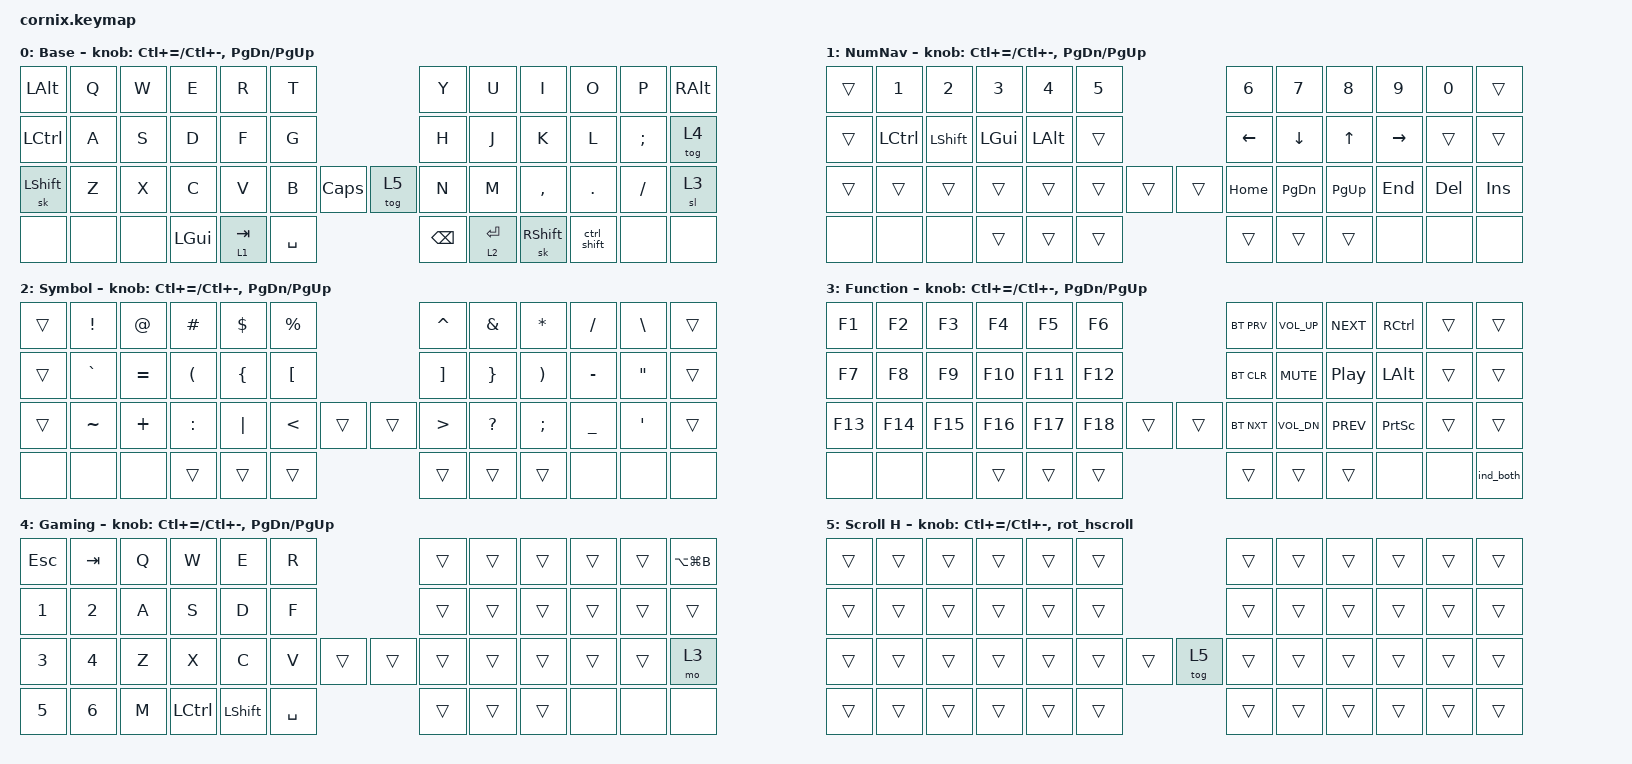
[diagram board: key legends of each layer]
/*
 * Copyright (c) 2020 The ZMK Contributors
 *
 * SPDX-License-Identifier: MIT
 */

#include "includes/cornix54.h"
#include <behaviors.dtsi>
#include <behaviors/rgbled_widget.dtsi>
#include <dt-bindings/zmk/bt.h>
#include <dt-bindings/zmk/keys.h>
// Override default scroll value so one encoder detent produces at least
// one scroll step (speed × trigger_period_ms / 1000 >= 1 → need >= 63).
#define ZMK_POINTING_DEFAULT_SCRL_VAL 100
#include <dt-bindings/zmk/pointing.h>

&lt {
    tapping-term-ms = <135>;
    flavor = "hold-preferred";
};

/ {
    combos {
        compatible = "zmk,combos";

        jkForEscape {
            bindings = <&kp ESCAPE>;
            key-positions = <RM1 RM2>;
        };
    };

    macros {
        highlight_left: highlight_left {
            compatible = "zmk,behavior-macro";
            #binding-cells = <0>;
            bindings = <&kp LS(LA(LEFT))>;
            label = "HIGHLIGHT_LEFT";
        };

        highlight_right: highlight_right {
            compatible = "zmk,behavior-macro";
            #binding-cells = <0>;
            bindings = <&kp LS(LA(RIGHT))>;
            label = "HIGHLIGHT_RIGHT";
        };

        highlight_up: highlight_up {
            compatible = "zmk,behavior-macro";
            #binding-cells = <0>;
            bindings = <&kp LS(LA(UP_ARROW))>;
            label = "HIGHLIGHT_UP";
        };

        highlight_down: highlight_down {
            compatible = "zmk,behavior-macro";
            #binding-cells = <0>;
            bindings = <&kp LS(LA(DOWN_ARROW))>;
            label = "HIGHLIGHT_DOWN";
        };

        ctrl_shift: ctrl_shift {
            compatible = "zmk,behavior-macro";
            #binding-cells = <0>;
            wait-ms = <0>;
            tap-ms = <0>;
            bindings
                = <&macro_press &kp LEFT_CONTROL>
                , <&macro_press &kp LEFT_SHIFT>
                , <&macro_pause_for_release>
                , <&macro_release &kp LEFT_SHIFT>
                , <&macro_release &kp LEFT_CONTROL>
                ;
            label = "CTRL_SHIFT";
        };

        ind_both: ind_both {
            compatible = "zmk,behavior-macro";
            #binding-cells = <0>;
            bindings = <&ind_bat &ind_con>;
            label = "IND_BOTH";
        };

    };

    behaviors {
        // Clockwise = scroll right, counter-clockwise = scroll left.
        // tap-ms must be >= the msc trigger period (16ms) so at least one
        // input tick fires per encoder detent.
        rot_hscroll: rot_hscroll {
            compatible = "zmk,behavior-sensor-rotate";
            #sensor-binding-cells = <0>;
            tap-ms = <20>;
            bindings = <&msc SCRL_RIGHT>, <&msc SCRL_LEFT>;
        };
    };

    keymap {
        compatible = "zmk,keymap";

        default_layer {
            display-name = "Base";

            // Cornix 50-key layout mapped from Corne 42-key base layer
            // ╭────────────────────────────────────────────────╮               ╭────────────────────────────────────────────────╮
            // │ LALT  │  Q   │  W   │  E   │  R   │  T   │               │  Y   │  U   │  I   │  O   │  P   │ RALT  │
            // │ LCTRL │  A   │  S   │  D   │  F   │  G   ╰──╮         ╭──╯  H   │  J   │  K   │  L   │  ;   │ tog 4 │
            // │ skSHFT│  Z   │  X   │  C   │  V   │  B   │CAPS╰────┬────╯togH │  N   │  M   │  ,   │  .   │  /   │ sl 3  │
            // │ none  │ none │ none │ GUI  │lt1TAB│ SPC  │     │     │ BKSP │lt2RET│skSHFT│ none │ none │ none  │
            // ╰────────────────────────────────────────────────────────┴────────────────────────────────────────────────────╯

            bindings = <
&kp LEFT_ALT    &kp Q  &kp W  &kp E     &kp R      &kp T                                    &kp Y          &kp U        &kp I            &kp O    &kp P     &kp RIGHT_ALT
&kp LCTRL       &kp A  &kp S  &kp D     &kp F      &kp G                                    &kp H          &kp J        &kp K            &kp L    &kp SEMI  &tog 4
&sk LEFT_SHIFT  &kp Z  &kp X  &kp C     &kp V      &kp B        &kp CAPSLOCK    &tog 5          &kp N          &kp M        &kp COMMA        &kp DOT  &kp FSLH  &sl 3
&none           &none  &none  &kp LGUI  &lt 1 TAB  &kp SPACE                                &kp BACKSPACE  &lt 2 ENTER  &sk RIGHT_SHIFT  &ctrl_shift  &none  &none
            >;

            sensor-bindings =
                <&inc_dec_kp LC(EQUAL) LC(MINUS)>,
                <&inc_dec_kp PG_DN PG_UP>;
        };

        number_layer {
            display-name = "NumNav";

            bindings = <
&trans  &kp NUMBER_1  &kp N2          &kp N3    &kp N4        &kp N5                        &kp N6    &kp N7         &kp N8       &kp N9     &kp N0      &trans
&trans  &kp LCTRL     &kp LEFT_SHIFT  &kp LGUI  &kp LEFT_ALT  &trans                        &kp LEFT  &kp DOWN       &kp UP       &kp RIGHT  &trans      &trans
&trans  &trans        &trans          &trans    &trans        &trans    &trans    &trans     &kp HOME  &kp PAGE_DOWN  &kp PAGE_UP  &kp END    &kp DELETE  &kp INSERT
&none   &none         &none           &trans    &trans        &trans                        &trans    &trans         &trans       &none      &none       &none
            >;

            sensor-bindings =
                <&inc_dec_kp LC(EQUAL) LC(MINUS)>,
                <&inc_dec_kp PG_DN PG_UP>;
        };

        symbol_layer {
            display-name = "Symbol";

            bindings = <
&trans  &kp EXCLAMATION  &kp AT     &kp HASH              &kp DOLLAR      &kp PERCENT                          &kp CARET          &kp AMPS         &kp ASTRK              &kp SLASH       &kp BACKSLASH      &trans
&trans  &kp GRAVE        &kp EQUAL  &kp LEFT_PARENTHESIS  &kp LEFT_BRACE  &kp LEFT_BRACKET                     &kp RIGHT_BRACKET  &kp RIGHT_BRACE  &kp RIGHT_PARENTHESIS  &kp MINUS       &kp DOUBLE_QUOTES  &trans
&trans  &kp TILDE        &kp PLUS   &kp COLON             &kp PIPE        &kp LESS_THAN     &trans    &trans   &kp GREATER_THAN   &kp QUESTION     &kp SEMI               &kp UNDERSCORE  &kp SINGLE_QUOTE   &trans
&none   &none            &none      &trans                &trans          &trans                                &trans             &trans           &trans                 &none           &none              &none
            >;

            sensor-bindings =
                <&inc_dec_kp LC(EQUAL) LC(MINUS)>,
                <&inc_dec_kp PG_DN PG_UP>;
        };

        function_layer {
            display-name = "Function";

            bindings = <
&kp F1   &kp F2   &kp F3   &kp F4   &kp F5   &kp F6                        &bt BT_PRV  &kp C_VOLUME_UP  &kp C_NEXT  &kp RCTRL        &trans  &trans
&kp F7   &kp F8   &kp F9   &kp F10  &kp F11  &kp F12                       &bt BT_CLR  &kp K_MUTE       &kp C_PP    &kp LEFT_ALT     &trans  &trans
&kp F13  &kp F14  &kp F15  &kp F16  &kp F17  &kp F18   &trans    &trans    &bt BT_NXT  &kp C_VOL_DN     &kp C_PREV  &kp PRINTSCREEN  &trans  &trans
&none    &none    &none    &trans   &trans   &trans                         &trans      &trans           &trans      &none            &none   &ind_both
            >;

            sensor-bindings =
                <&inc_dec_kp LC(EQUAL) LC(MINUS)>,
                <&inc_dec_kp PG_DN PG_UP>;
        };

        gaming_layer {
            display-name = "Gaming";

            bindings = <
&kp ESCAPE    &kp TAB       &kp Q  &kp W      &kp E      &kp R                            &trans  &trans  &trans  &trans  &trans  &kp LA(LG(B))
&kp NUMBER_1  &kp N2        &kp A  &kp S      &kp D      &kp F                            &trans  &trans  &trans  &trans  &trans  &trans
&kp NUMBER_3  &kp NUMBER_4  &kp Z  &kp X      &kp C      &kp V     &trans    &trans       &trans  &trans  &trans  &trans  &trans  &mo 3
&kp NUMBER_5  &kp NUMBER_6  &kp M  &kp LCTRL  &kp LSHFT  &kp SPACE                        &trans  &trans  &trans  &none   &none   &none
            >;

            sensor-bindings =
                <&inc_dec_kp LC(EQUAL) LC(MINUS)>,
                <&inc_dec_kp PG_DN PG_UP>;
        };

        scroll_horiz_layer {
            display-name = "Scroll H";

            bindings = <
&trans  &trans  &trans  &trans  &trans  &trans                                    &trans  &trans  &trans  &trans  &trans  &trans
&trans  &trans  &trans  &trans  &trans  &trans                                    &trans  &trans  &trans  &trans  &trans  &trans
&trans  &trans  &trans  &trans  &trans  &trans        &trans          &tog 5      &trans  &trans  &trans  &trans  &trans  &trans
&trans  &trans  &trans  &trans  &trans  &trans                                    &trans  &trans  &trans  &trans  &trans  &trans
            >;

            sensor-bindings =
                <&inc_dec_kp LC(EQUAL) LC(MINUS)>,
                <&rot_hscroll>;
        };

        extra_1 { status = "reserved"; };

        extra_2 { status = "reserved"; };

        extra_3 { status = "reserved"; };
    };
};
